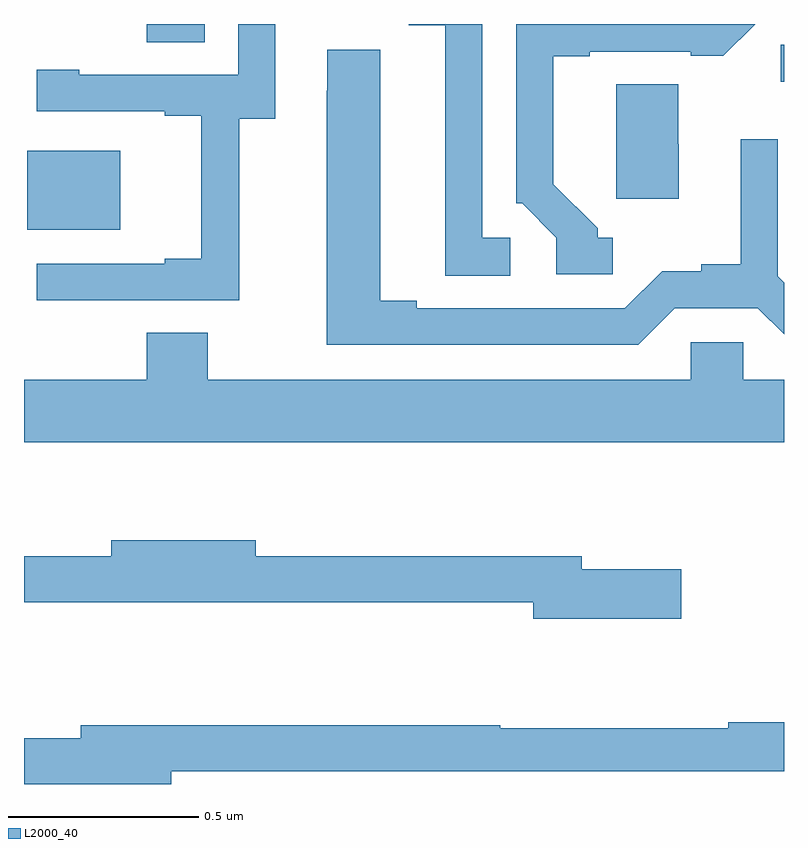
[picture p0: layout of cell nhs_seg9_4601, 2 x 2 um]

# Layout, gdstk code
import gdstk
lib = gdstk.Library(unit=1e-6, precision=1e-09)
def R(c, l, rs):  # rectangles x0, y0, x1, y1
    for r in rs: c.add(gdstk.rectangle(r[:2], r[2:], *l))
def P(c, l, *ps):  # polygons
    for p in ps: c.add(gdstk.Polygon(p, *l))
L2000_40 = (2000, 40)

nhs_seg9_4601 = lib.new_cell('nhs_seg9_4601')
R(nhs_seg9_4601, L2000_40, [(168.008,1216.958,168.253,1217.167), (169.992,1217.348,170,1217.445), (168.323,1217.452,168.475,1217.5)])
P(nhs_seg9_4601, L2000_40, [(168.567,1217.251),(168.661,1217.251),(168.661,1217.5),(168.564,1217.5),(168.564,1217.367),(168.145,1217.367),(168.145,1217.38),(168.033,1217.38),(168.033,1217.271),(168.371,1217.271),(168.371,1217.259),(168.467,1217.259),(168.467,1216.882),(168.371,1216.882),(168.371,1216.869),(168.033,1216.869),(168.033,1216.773),(168.567,1216.773)],
  [(169.279,1216.938),(169.206,1216.938),(169.206,1217.5),(169.013,1217.5),(169.013,1217.497),(169.109,1217.497),(169.109,1216.837),(169.279,1216.837)],
  [(169.549,1216.938),(169.51,1216.938),(169.51,1216.962),(169.393,1217.078),(169.393,1217.415),(169.489,1217.415),(169.489,1217.427),(169.754,1217.427),(169.754,1217.416),(169.84,1217.416),(169.924,1217.5),(169.296,1217.5),(169.296,1217.028),(169.311,1217.028),(169.401,1216.938),(169.401,1216.842),(169.549,1216.842)],
  [(169.713,1216.752),(169.931,1216.752),(170,1216.683),(170,1216.819),(169.983,1216.836),(169.983,1217.197),(169.886,1217.197),(169.886,1216.868),(169.782,1216.868),(169.782,1216.85),(169.679,1216.85),(169.581,1216.752),(169.033,1216.752),(169.033,1216.772),(168.937,1216.772),(168.937,1217.432),(168.798,1217.432),(168.798,1217.324),(168.797,1217.324),(168.797,1216.656),(169.617,1216.656)],
  [(169.723,1217.184),(169.722,1217.184),(169.722,1217.342),(169.559,1217.342),(169.559,1217.04),(169.723,1217.04)],
  [(170,1216.564),(169.893,1216.564),(169.893,1216.662),(169.755,1216.662),(169.755,1216.564),(168.483,1216.564),(168.483,1216.688),(168.323,1216.688),(168.323,1216.564),(168,1216.564),(168,1216.4),(170,1216.4)],
  [(169.729,1216.065),(169.468,1216.065),(169.468,1216.099),(168.61,1216.099),(168.61,1216.141),(168.23,1216.141),(168.23,1216.099),(168,1216.099),(168,1215.978),(169.34,1215.978),(169.34,1215.935),(169.729,1215.935)],
  [(168.388,1215.534),(170,1215.534),(170,1215.662),(169.853,1215.662),(169.853,1215.647),(169.253,1215.647),(169.253,1215.655),(168.149,1215.655),(168.149,1215.621),(168,1215.621),(168,1215.5),(168.388,1215.5)])

lib.write_gds('nhs_seg9_4601.gds')
